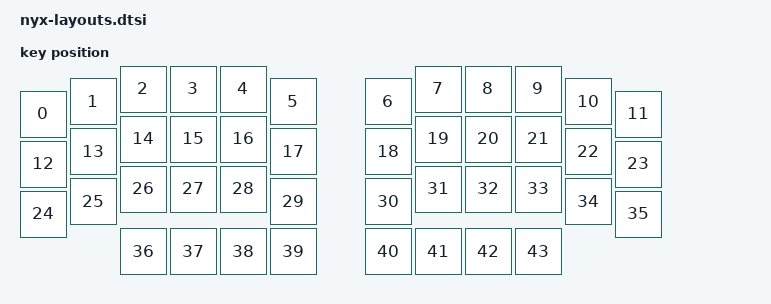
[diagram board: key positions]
// See https://zmk.dev/docs/development/hardware-integration/physical-layouts
// for how to configure this.

#include <physical_layouts.dtsi>

/ {
    default_layout: default_layout {
        compatible = "zmk,physical-layout";
        display-name = "Default Layout";
        transform = <&default_transform>;
        kscan = <&kscan>;

        // Key positions in centi-units (100 = 1u = 19.05mm).
        // Layout: 6-column columnar-stagger split, 3 main rows + 4-key thumb cluster per side.
        //
        // Column stagger offsets (from top, relative to col 0):
        //   col 0 (pinky outer): +50
        //   col 1 (pinky):        +25
        //   col 2 (ring):          +0
        //   col 3 (middle):       -25
        //   col 4 (index):         +0
        //   col 5 (index inner):  +25
        //
        // Left half  cols 0-5  starting at x=0
        // Right half cols 6-11 starting at x=1290 (6*100 + 690 gap ~1u between halves)
        //
        // Row y positions (before stagger):
        //   row 0: y = 0
        //   row 1: y = 100
        //   row 2: y = 200
        //   row 3 (thumbs): y = 325

        keys  //                     w   h    x    y     rot    rx    ry
            // Row 0 — left
            = <&key_physical_attrs 100 100    0   50       0     0     0>  // RC(0,0)  pinky outer
            , <&key_physical_attrs 100 100  100   25       0     0     0>  // RC(0,1)  pinky
            , <&key_physical_attrs 100 100  200    0       0     0     0>  // RC(0,2)  ring
            , <&key_physical_attrs 100 100  300    0       0     0     0>  // RC(0,3)  middle (shifted up)
            , <&key_physical_attrs 100 100  400    0       0     0     0>  // RC(0,4)  index
            , <&key_physical_attrs 100 100  500   25       0     0     0>  // RC(0,5)  index inner
            // Row 0 — right
            , <&key_physical_attrs 100 100  690   25       0     0     0>  // RC(0,6)  index inner
            , <&key_physical_attrs 100 100  790    0       0     0     0>  // RC(0,7)  index
            , <&key_physical_attrs 100 100  890    0       0     0     0>  // RC(0,8)  middle
            , <&key_physical_attrs 100 100  990    0       0     0     0>  // RC(0,9)  ring
            , <&key_physical_attrs 100 100 1090   25       0     0     0>  // RC(0,10) pinky
            , <&key_physical_attrs 100 100 1190   50       0     0     0>  // RC(0,11) pinky outer
            // Row 1 — left
            , <&key_physical_attrs 100 100    0  150       0     0     0>  // RC(1,0)
            , <&key_physical_attrs 100 100  100  125       0     0     0>  // RC(1,1)
            , <&key_physical_attrs 100 100  200  100       0     0     0>  // RC(1,2)
            , <&key_physical_attrs 100 100  300  100       0     0     0>  // RC(1,3)
            , <&key_physical_attrs 100 100  400  100       0     0     0>  // RC(1,4)
            , <&key_physical_attrs 100 100  500  125       0     0     0>  // RC(1,5)
            // Row 1 — right
            , <&key_physical_attrs 100 100  690  125       0     0     0>  // RC(1,6)
            , <&key_physical_attrs 100 100  790  100       0     0     0>  // RC(1,7)
            , <&key_physical_attrs 100 100  890  100       0     0     0>  // RC(1,8)
            , <&key_physical_attrs 100 100  990  100       0     0     0>  // RC(1,9)
            , <&key_physical_attrs 100 100 1090  125       0     0     0>  // RC(1,10)
            , <&key_physical_attrs 100 100 1190  150       0     0     0>  // RC(1,11)
            // Row 2 — left
            , <&key_physical_attrs 100 100    0  250       0     0     0>  // RC(2,0)
            , <&key_physical_attrs 100 100  100  225       0     0     0>  // RC(2,1)
            , <&key_physical_attrs 100 100  200  200       0     0     0>  // RC(2,2)
            , <&key_physical_attrs 100 100  300  200       0     0     0>  // RC(2,3)
            , <&key_physical_attrs 100 100  400  200       0     0     0>  // RC(2,4)
            , <&key_physical_attrs 100 100  500  225       0     0     0>  // RC(2,5)
            // Row 2 — right
            , <&key_physical_attrs 100 100  690  225       0     0     0>  // RC(2,6)
            , <&key_physical_attrs 100 100  790  200       0     0     0>  // RC(2,7)
            , <&key_physical_attrs 100 100  890  200       0     0     0>  // RC(2,8)
            , <&key_physical_attrs 100 100  990  200       0     0     0>  // RC(2,9)
            , <&key_physical_attrs 100 100 1090  225       0     0     0>  // RC(2,10)
            , <&key_physical_attrs 100 100 1190  250       0     0     0>  // RC(2,11)
            // Row 3 — left thumb cluster (cols 2-5)
            , <&key_physical_attrs 100 100  200  325       0     0     0>  // RC(3,2)
            , <&key_physical_attrs 100 100  300  325       0     0     0>  // RC(3,3)
            , <&key_physical_attrs 100 100  400  325       0     0     0>  // RC(3,4)
            , <&key_physical_attrs 100 100  500  325       0     0     0>  // RC(3,5)
            // Row 3 — right thumb cluster (cols 6-9)
            , <&key_physical_attrs 100 100  690  325       0     0     0>  // RC(3,6)
            , <&key_physical_attrs 100 100  790  325       0     0     0>  // RC(3,7)
            , <&key_physical_attrs 100 100  890  325       0     0     0>  // RC(3,8)
            , <&key_physical_attrs 100 100  990  325       0     0     0>  // RC(3,9)
            ;
    };
};
